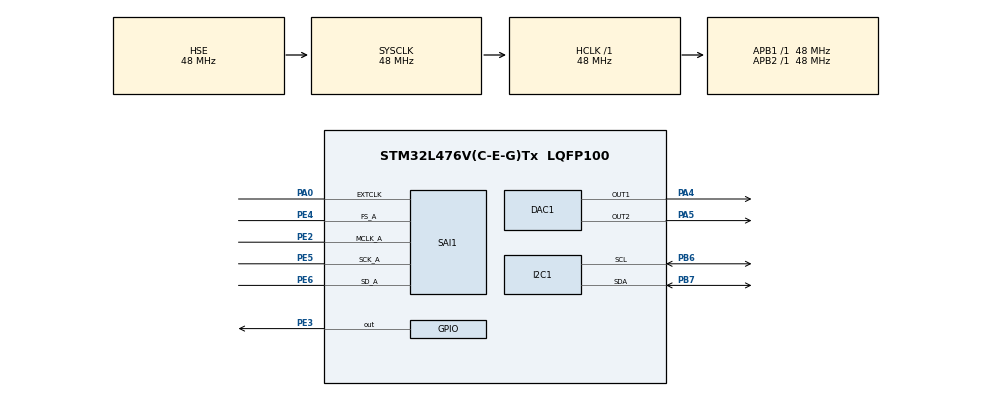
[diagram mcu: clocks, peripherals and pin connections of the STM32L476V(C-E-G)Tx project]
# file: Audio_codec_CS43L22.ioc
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DAC1.DAC_Channel-DAC_OUT2=DAC_CHANNEL_2
DAC1.DAC_Trigger-DAC_OUT1=DAC_TRIGGER_T6_TRGO
DAC1.DAC_Trigger-DAC_OUT2=DAC_TRIGGER_T6_TRGO
DAC1.TriangleAmplitude-DAC_OUT1=DAC_TRIANGLEAMPLITUDE_31
DAC1.WaveGeneration-DAC_OUT1=TriangleWaveGeneration
DAC1.WaveGeneration-DAC_OUT2=NoiseWaveGeneration
I2C1.CustomTiming=Disabled
I2C1.Timing=0x20303E5D
Mcu.Family=STM32L4
Mcu.Name=STM32L476V(C-E-G)Tx
Mcu.Package=LQFP100
NVIC.I2C1_ER_IRQn=true\:0\:0\:false\:false\:true\:true\:true
NVIC.I2C1_EV_IRQn=true\:0\:0\:false\:false\:true\:true\:true
NVIC.PriorityGroup=NVIC_PRIORITYGROUP_4
NVIC.TIM6_DAC_IRQn=true\:0\:0\:false\:false\:true\:true\:true
PA0.Mode=Audio_ClockInSAI1
PA0.Signal=SAI1_EXTCLK
PA4.Signal=COMP_DAC11_group
PA5.Signal=COMP_DAC12_group
PB6.Mode=I2C
PB6.Signal=I2C1_SCL
PB7.Mode=I2C
PB7.Signal=I2C1_SDA
PE2.Mode=SAI_A_MasterWithClock
PE2.Signal=SAI1_MCLK_A
PE3.GPIO_PuPd=GPIO_PULLUP
PE3.PinState=GPIO_PIN_SET
PE3.Signal=GPIO_Output
PE4.Mode=SAI_A_MasterWithClock
PE4.Signal=SAI1_FS_A
PE5.Mode=SAI_A_MasterWithClock
PE5.Signal=SAI1_SCK_A
PE6.Mode=SAI_A_MasterWithClock
PE6.Signal=SAI1_SD_A
PH0-OSC_IN\ (PH0).Mode=HSE-External-Oscillator
PH0-OSC_IN\ (PH0).Signal=RCC_OSC_IN
PH1-OSC_OUT\ (PH1).Mode=HSE-External-Oscillator
PH1-OSC_OUT\ (PH1).Signal=RCC_OSC_OUT
ProjectManager.HeapSize=0x200
ProjectManager.StackSize=0x400
ProjectManager.TargetToolchain=MDK-ARM V5
RCC.ADCFreq_Value=128000000
RCC.AHBFreq_Value=48000000
RCC.APB1Freq_Value=48000000
RCC.APB1TimFreq_Value=48000000
RCC.APB2Freq_Value=48000000
RCC.APB2TimFreq_Value=48000000
RCC.CortexFreq_Value=48000000
RCC.EXTERNALSAI1_CLOCK_VALUE=12288000
RCC.HCLKFreq_Value=48000000
RCC.HSE_VALUE=48000000
RCC.HSI_VALUE=16000000
RCC.I2C1CLockSelection=RCC_I2C1CLKSOURCE_SYSCLK
RCC.LSE_VALUE=32768
RCC.MSI_VALUE=4000000
RCC.PLLM=3
RCC.PLLSAI1N=16
RCC.PLLSourceVirtual=RCC_PLLSOURCE_HSE
RCC.PREFETCH_ENABLE=0
RCC.SYSCLKFreq_VALUE=48000000
RCC.SYSCLKSource=RCC_SYSCLKSOURCE_HSE
RCC.USBFreq_Value=128000000
RCC.VCOOutputFreq_Value=128000000
SAI1.ErrorAudioFreq-SAI_A_MasterWithClock=-25.59 %
SAI1.Instance-SAI_A_MasterWithClock=SAI$Index_Block_A
SAI1.MClockEnable-SAI_A_MasterWithClock=SAI_MASTERCLOCK_ENABLE
SAI1.RealAudioFreq-SAI_A_MasterWithClock=142.857 KHz
SAI1.VirtualMode-SAI_A_MasterWithClock=VM_MASTER
SH.COMP_DAC11_group.0=DAC1_OUT1,DAC_OUT1
SH.COMP_DAC12_group.0=DAC1_OUT2,DAC_OUT2
VP_TIM6_VS_ClockSourceINT.Mode=Enable_Timer
board=STM32L476G-DISCO

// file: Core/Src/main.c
/* USER CODE BEGIN Header */
/**
  ******************************************************************************
  * @file           : main.c
  * @brief          : Main program body
  ******************************************************************************
  * @attention
  *
  * This program sets up codec on STM32L4 - Discovery board in beep mode.
  ******************************************************************************
  */
/* USER CODE END Header */
#include "main.h"

/* USER CODE BEGIN PD */
// Define all codac register addresses
#define CODAC_ADRESS_WRITE 0x94
#define CODAC_ADRESS_READ 0x95
#define TIMEOUT 10
#define POWER_UP_REG 0x02
#define BEEP_REG 0x1E
#define BEEP_FREQ_ONTIME_REG 0x1C
#define BEEP_VOLUME_OFFTIME_REG 0x1D
#define MASTER_VOLUME_REG 0x20
#define HPA_VOLUME_REG 0x22
#define HPB_VOLUME_REG 0x23
#define CLOCK_CONTROL_REG 0x05
#define POWER_CR2_REG 0x04
#define PLAYBACKC_2_REG 0x0F // playback control 2
#define PASSAVOL_REG 0x14 // Passthrough A Volume
#define PASSBVOL_REG 0x15 // Passthrough B Volume
#define MISCELLANEOUS_CONTROLS_REG 0x0E //MISCELLANEOUS CONTROLS register
#define INTERFACE_CONTROL_1_REG 0x06 //inerface control 1 register
#define INTERFACE_CONTROL_2_REG 0x07 //interface control 2 register
#define PCMA_REG 0x1A
#define PCMB_REG 0x1B
#define MSTA_REG 0x20
#define MSTB_REG 0x21
#define SPKA_REG 0x24
#define SPKB_REG 0x25
/* USER CODE END PD */

DAC_HandleTypeDef hdac1;

I2C_HandleTypeDef hi2c1;

SAI_HandleTypeDef hsai_BlockA1;

TIM_HandleTypeDef htim6;

/* USER CODE BEGIN PV */
// Configure all desired messages to the codec by adding
// needed value of the register to the array
uint8_t POWER_UP[] = {(uint8_t)POWER_UP_REG,(uint8_t)0x9E}; //PU sequence
uint8_t CLOCK_AUTO[] = {(uint8_t)CLOCK_CONTROL_REG,(uint8_t)0x80};
uint8_t PBCR_2[] = {(uint8_t)PLAYBACKC_2_REG, (uint8_t)0x08};
uint8_t PSAVOL[] = {(uint8_t)PASSAVOL_REG, (uint8_t)0x0F}; //volume +12dB channel A
uint8_t PSBVOL[] = {(uint8_t)PASSBVOL_REG, (uint8_t)0x0F}; //volume +12dB channel B
// BEEP GENERATOR BUFFERS
uint8_t MASTER_VOLUME[] = {(uint8_t)MASTER_VOLUME_REG,(uint8_t)0x18};//volume 12 db
uint8_t BEEPVOL_OFFTIME[] = {(uint8_t)BEEP_VOLUME_OFFTIME_REG,(uint8_t)0x06};//volume 12 db, off time 1.23s (for 96 kHz)
uint8_t BEEPFREQ_ONTIME[] = {(uint8_t)BEEP_FREQ_ONTIME_REG,(uint8_t)0x77};//beep freq 1000 Hz, on time 2.50s
uint8_t MISCEL_CONTROLS[] = {(uint8_t)MISCELLANEOUS_CONTROLS_REG, (uint8_t)0x60};//passthrough analog A to HP line enabled, B disabled and muted
uint8_t POWER_CR2[] = {(uint8_t)POWER_CR2_REG,(uint8_t)0xAF};//HP line always on, speaker power always off
uint8_t BEEP[] = {(uint8_t)BEEP_REG,(uint8_t)0x81};//multiple beeping, mix with SAI disabled, treble corner freq 5kHz, bass corner freq 50Hz
//----------------------BUFFERS-------------------------
uint8_t TX_BUFFER = 0;
uint8_t RX_BUFFER =  0;
uint8_t POWER_UP_BUFFER =  0x02; //address of power reg
uint8_t MODE_BUFFER =  0x02;
uint8_t CODAC_ID = 0x01;
uint8_t CODAC_MVC = 0x20;
uint8_t CODAC_BEEP = 0x1E; //BEEP address
uint8_t CODAC_BEEPING = 0x03; //continious beeping
uint8_t CODAC_BPVOL = 0x1D; //volume address
uint8_t CODAC_12DB = 0x06;
uint8_t CODAC_PU = 0x02;//power reg adr
uint8_t CODAC_PU_EN = 0x9E;//power reg status
uint8_t CODAC_IC_ADDR = 0x06;
uint8_t INTRFC_CR1 = 0x06;//Interface Control 1 reg address
uint8_t SAI_TRANSFER[] = {0x01, 0x02,0x03, 0x04,0x05, 0x06, 0x07, 0x08,0x09, 0x0A,0x0B, 0x0C, 0x0D, 0x0E, 0x0F, 0x10, 0x11, 0x12,
0x13, 0x14, 0x15, 0x16, 0x17, 0x18, 0x19, 0x1A, 0x1B, 0x1C, 0x1D, 0x1E, 0x1F, 0x20, 0x21, 0x22, 0x23, 0x24, 0x25, 0x26, 0x27, 0x28, 0x29, 0x2A,
0x2B, 0x2C, 0x2D, 0x2E, 0x2F, 0x30, 0x31, 0x32, 0x33, 0x34,0x35, 0x36,0x37, 0x38, 0x39, 0x3A,0x3B, 0x3C, 0x3D, 0x3E, 0x3F, 0x40, 0x41,
0x42, 0x43, 0x44, 0x45, 0x46, 0x47, 0x48, 0x49, 0x4A, 0x4B, 0x4C, 0x4D, 0x4E, 0x4F, 0x50};//Message for SAI to send
/* USER CODE END PV */

void SystemClock_Config(void);
static void MX_GPIO_Init(void);
static void MX_DAC1_Init(void);
static void MX_I2C1_Init(void);
static void MX_SAI1_Init(void);
static void MX_TIM6_Init(void);

/* USER CODE BEGIN 0 */
static void USER_TIM6_init(void)//TIMER 6 init
{
        RCC->APB1ENR1 |= RCC_APB1ENR1_TIM6EN;

        TIM6->PSC = 0x0003;
        TIM6->ARR = 0xFF;

        TIM6->CR2 |= TIM_CR2_MMS_1;
        TIM6->CR1 |= TIM_CR1_CEN;
}

void SAI_PASSTHROUGH_INIT (void)// Function initialises passthrough for PCM (SAI) to the HP
{
	//messages to send
	uint8_t pwr_up[] = {(uint8_t)POWER_UP_REG, (uint8_t)0x01};//power up sequense
	uint8_t pwr_2[] = {(uint8_t)POWER_CR2_REG, (uint8_t)0xAF};//HP always on, speaker muted
	uint8_t clk[] = {(uint8_t)CLOCK_CONTROL_REG, (uint8_t)0x80};//auto detection of clk signal
	uint8_t intfcntrl_1[] = {(uint8_t)INTERFACE_CONTROL_1_REG, (uint8_t)0x10};//slave with enabled DSP
	uint8_t miscel[] = {(uint8_t)MISCELLANEOUS_CONTROLS_REG, (uint8_t)0x30};//passthrough muted
	uint8_t pbck_ctrl_2[] = {(uint8_t)PLAYBACKC_2_REG, (uint8_t)0x38};//speaker muted, headphones not muted
	uint8_t pcma[] = {(uint8_t)PCMA_REG, (uint8_t)0x18};//PCM data from SAI volume +12dB on channel A to DSP
	uint8_t pcmb[] = {(uint8_t)PCMB_REG, (uint8_t)0x18};//PCM data from SAI volume +12dB on channel B to DSP
	uint8_t beep[] = {(uint8_t)BEEP_REG, (uint8_t)0x00};//BEEP generator is off
	uint8_t msta[] = {(uint8_t)MSTA_REG, (uint8_t)0x18};//master volume +12dB on channel A
	uint8_t mstb[] = {(uint8_t)MSTB_REG, (uint8_t)0x18};//master volume +12dB on channel B
	uint8_t hpa[] = {(uint8_t)HPA_VOLUME_REG, (uint8_t)0x00};//hp volume not muted (0dB)
	uint8_t hpb[] = {(uint8_t)HPB_VOLUME_REG, (uint8_t)0x00};//hp volume not muted (0dB)
	uint8_t spka[] = {(uint8_t)SPKA_REG,(uint8_t)0x01};//speaker muted
	uint8_t spkb[] = {(uint8_t)SPKB_REG,(uint8_t)0x01};//speaker muted

	//using HAL functions to set up the codac
	HAL_I2C_Master_Transmit(&hi2c1,CODAC_ADRESS_WRITE, pwr_up, 2, 100);
	HAL_I2C_Master_Transmit(&hi2c1,CODAC_ADRESS_WRITE, pwr_2, 2, 100);
	HAL_I2C_Master_Transmit(&hi2c1,CODAC_ADRESS_WRITE, clk, 2, 100);
	HAL_I2C_Master_Transmit(&hi2c1,CODAC_ADRESS_WRITE, intfcntrl_1, 2, 100);
	HAL_I2C_Master_Transmit(&hi2c1,CODAC_ADRESS_WRITE, miscel, 2, 100);
	HAL_I2C_Master_Transmit(&hi2c1,CODAC_ADRESS_WRITE, pbck_ctrl_2, 2, 100);
	HAL_I2C_Master_Transmit(&hi2c1,CODAC_ADRESS_WRITE, pcma, 2, 100);
	HAL_I2C_Master_Transmit(&hi2c1,CODAC_ADRESS_WRITE, pcmb, 2, 100);
	HAL_I2C_Master_Transmit(&hi2c1,CODAC_ADRESS_WRITE, beep, 2, 100);
	HAL_I2C_Master_Transmit(&hi2c1,CODAC_ADRESS_WRITE, msta, 2, 100);
	HAL_I2C_Master_Transmit(&hi2c1,CODAC_ADRESS_WRITE, mstb, 2, 100);
	HAL_I2C_Master_Transmit(&hi2c1,CODAC_ADRESS_WRITE, hpa, 2, 100);
	HAL_I2C_Master_Transmit(&hi2c1,CODAC_ADRESS_WRITE, hpb, 2, 100);
	HAL_I2C_Master_Transmit(&hi2c1,CODAC_ADRESS_WRITE, spka, 2, 100);
	HAL_I2C_Master_Transmit(&hi2c1,CODAC_ADRESS_WRITE, spkb, 2, 100);

	pwr_up[1] = (uint8_t)0x9E;//sequence for starting (look up datasheet for power up procedure)
	HAL_I2C_Master_Transmit(&hi2c1,CODAC_ADRESS_WRITE, pwr_up, 2, 100);//power up routine

	__HAL_SAI_ENABLE(&hsai_BlockA1);

}
/* USER CODE END 0 */

int main(void)
{

  /* MCU Configuration--------------------------------------------------------*/

  /* Reset of all peripherals, Initializes the Flash interface and the Systick. */
  HAL_Init();

  /* Configure the system clock */
  SystemClock_Config();

  /* Initialize all configured peripherals */
  MX_GPIO_Init();
  MX_DAC1_Init();
  MX_I2C1_Init();
  MX_SAI1_Init();
  MX_TIM6_Init();
  /* USER CODE BEGIN 2 */
	USER_TIM6_init();
	HAL_NVIC_EnableIRQ(TIM6_IRQn);
	HAL_NVIC_EnableIRQ(SAI1_IRQn);

	HAL_GPIO_WritePin(GPIOE, GPIO_PIN_3, GPIO_PIN_SET);//Reset pin on codac is HIGH (see datasheet for details)
	//Codac setup via I2C1 begin
	// Reading from registers to make sure that it works and checking
	// if register Power Ctl 1 is set to 0x01
  HAL_I2C_Master_Transmit(&hi2c1,CODAC_ADRESS_WRITE,&CODAC_ID,1,TIMEOUT);
	HAL_I2C_Master_Receive(&hi2c1,CODAC_ADRESS_READ,&RX_BUFFER,1,TIMEOUT);
	HAL_I2C_Master_Transmit(&hi2c1,CODAC_ADRESS_WRITE,&POWER_UP_BUFFER,1,TIMEOUT);
	HAL_I2C_Master_Receive(&hi2c1,CODAC_ADRESS_READ,&RX_BUFFER,1,TIMEOUT);
	HAL_I2C_Master_Transmit(&hi2c1,CODAC_ADRESS_WRITE,&INTRFC_CR1,1,TIMEOUT);
	HAL_I2C_Master_Receive(&hi2c1,CODAC_ADRESS_READ,&RX_BUFFER,1,TIMEOUT);
	// End
	//To enable the beep generator, comment SAI_PASSTHROUGH_INIT() and uncomment sequence below
	SAI_PASSTHROUGH_INIT();//Custom function to setup SAI transmit
	/*------------------BEEP GENERATOR INIT BEGIN------------------------------------
	HAL_I2C_Master_Transmit(&hi2c1,CODAC_ADRESS_WRITE,CLOCK_AUTO,2,TIMEOUT);
	//  BEEP GENERATOR SETUP FOR A MULTIPLE PULSES
	//---------------------------------------------------------------------------
	HAL_I2C_Master_Transmit(&hi2c1,CODAC_ADRESS_WRITE,POWER_CR2,2,TIMEOUT);
	HAL_I2C_Master_Receive(&hi2c1,CODAC_ADRESS_READ,&RX_BUFFER,1,TIMEOUT);

	HAL_I2C_Master_Transmit(&hi2c1,CODAC_ADRESS_WRITE,MASTER_VOLUME,2,TIMEOUT);
	HAL_I2C_Master_Receive(&hi2c1,CODAC_ADRESS_READ,&RX_BUFFER,1,TIMEOUT);

	HAL_I2C_Master_Transmit(&hi2c1,CODAC_ADRESS_WRITE,BEEPVOL_OFFTIME,2,TIMEOUT);
	HAL_I2C_Master_Receive(&hi2c1,CODAC_ADRESS_READ,&RX_BUFFER,1,TIMEOUT);

	HAL_I2C_Master_Transmit(&hi2c1,CODAC_ADRESS_WRITE,BEEPFREQ_ONTIME,2,TIMEOUT);
	HAL_I2C_Master_Receive(&hi2c1,CODAC_ADRESS_READ,&RX_BUFFER,1,TIMEOUT);

	HAL_I2C_Master_Transmit(&hi2c1,CODAC_ADRESS_WRITE,MISCEL_CONTROLS,2,TIMEOUT);
	HAL_I2C_Master_Receive(&hi2c1,CODAC_ADRESS_READ,&RX_BUFFER,1,TIMEOUT);

	HAL_I2C_Master_Transmit(&hi2c1,CODAC_ADRESS_WRITE,BEEP,2,TIMEOUT);
	HAL_I2C_Master_Receive(&hi2c1,CODAC_ADRESS_READ,&RX_BUFFER,1,TIMEOUT);

	HAL_I2C_Master_Transmit(&hi2c1,CODAC_ADRESS_WRITE,POWER_UP,2,TIMEOUT);
	HAL_I2C_Master_Receive(&hi2c1,CODAC_ADRESS_READ,&RX_BUFFER,1,TIMEOUT);

	__HAL_SAI_ENABLE(&hsai_BlockA1);

	HAL_SAI_Transmit_IT(&hsai_BlockA1, SAI_TRANSFER, 2);//Transfer data to pump up the codac
	------------------BEEP GENERATOR INIT END--------------------------------------*/

  //Codac setup via I2C1 end
	/* USER CODE END 2 */

  /* Infinite loop */
  /* USER CODE BEGIN WHILE */
  while (1)
  {

		//HAL_SAI_Transmit use in to transmit data in blocking mode
		//or use HAL_SAI_Transmit_IT to send data in nonblocking mode

		HAL_SAI_Transmit(&hsai_BlockA1, SAI_TRANSFER, 80, 10);
		HAL_Delay(1.5);//delay for transfer time(?) without it there won't be time for volume amplification
    /* USER CODE END WHILE */

  }
}

void SystemClock_Config(void)
{
  RCC_OscInitTypeDef RCC_OscInitStruct = {0};
  RCC_ClkInitTypeDef RCC_ClkInitStruct = {0};

  /** Configure the main internal regulator output voltage
  */
  if (HAL_PWREx_ControlVoltageScaling(PWR_REGULATOR_VOLTAGE_SCALE1) != HAL_OK)
  {
    Error_Handler();
  }
  /** Initializes the RCC Oscillators according to the specified parameters
  * in the RCC_OscInitTypeDef structure.
  */
  RCC_OscInitStruct.OscillatorType = RCC_OSCILLATORTYPE_HSE;
  RCC_OscInitStruct.HSEState = RCC_HSE_ON;
  RCC_OscInitStruct.PLL.PLLState = RCC_PLL_NONE;
  if (HAL_RCC_OscConfig(&RCC_OscInitStruct) != HAL_OK)
  {
    Error_Handler();
  }
  /** Initializes the CPU, AHB and APB buses clocks
  */
  RCC_ClkInitStruct.ClockType = RCC_CLOCKTYPE_HCLK|RCC_CLOCKTYPE_SYSCLK
                              |RCC_CLOCKTYPE_PCLK1|RCC_CLOCKTYPE_PCLK2;
  RCC_ClkInitStruct.SYSCLKSource = RCC_SYSCLKSOURCE_HSE;
  RCC_ClkInitStruct.AHBCLKDivider = RCC_SYSCLK_DIV1;
  RCC_ClkInitStruct.APB1CLKDivider = RCC_HCLK_DIV1;
  RCC_ClkInitStruct.APB2CLKDivider = RCC_HCLK_DIV1;

  if (HAL_RCC_ClockConfig(&RCC_ClkInitStruct, FLASH_LATENCY_2) != HAL_OK)
  {
    Error_Handler();
  }
}

static void MX_DAC1_Init(void)
{

  DAC_ChannelConfTypeDef sConfig = {0};

  /** DAC Initialization
  */
  hdac1.Instance = DAC1;
  if (HAL_DAC_Init(&hdac1) != HAL_OK)
  {
    Error_Handler();
  }
  /** DAC channel OUT1 config
  */
  sConfig.DAC_SampleAndHold = DAC_SAMPLEANDHOLD_DISABLE;
  sConfig.DAC_Trigger = DAC_TRIGGER_T6_TRGO;
  sConfig.DAC_OutputBuffer = DAC_OUTPUTBUFFER_ENABLE;
  sConfig.DAC_ConnectOnChipPeripheral = DAC_CHIPCONNECT_DISABLE;
  sConfig.DAC_UserTrimming = DAC_TRIMMING_FACTORY;
  if (HAL_DAC_ConfigChannel(&hdac1, &sConfig, DAC_CHANNEL_1) != HAL_OK)
  {
    Error_Handler();
  }
  /** Configure Triangle wave generation on DAC OUT1
  */
  if (HAL_DACEx_TriangleWaveGenerate(&hdac1, DAC_CHANNEL_1, DAC_TRIANGLEAMPLITUDE_31) != HAL_OK)
  {
    Error_Handler();
  }
  /** DAC channel OUT2 config
  */
  if (HAL_DAC_ConfigChannel(&hdac1, &sConfig, DAC_CHANNEL_2) != HAL_OK)
  {
    Error_Handler();
  }
  /** Configure Noise wave generation on DAC OUT2
  */
  if (HAL_DACEx_NoiseWaveGenerate(&hdac1, DAC_CHANNEL_2, DAC_LFSRUNMASK_BIT0) != HAL_OK)
  {
    Error_Handler();
  }
  /* USER CODE BEGIN DAC1_Init 2 */
		RCC->APB1ENR1 |= RCC_APB1ENR1_DAC1EN;

    DAC->CR |= DAC_CR_TEN1; // trigger enable
    DAC->CR |= DAC_CR_MAMP1; // MAx amplitude
    DAC->CR |= DAC_CR_WAVE1_0; // Noise generator activated ch1

		DAC->CR |= DAC_CR_TEN2; // trigger enable
    DAC->CR |= DAC_CR_MAMP2; // MAx amplitude
    DAC->CR |= DAC_CR_WAVE2_1; // Noise generator activated ch2

		DAC->CR |= DAC_CR_EN1; // Enable ch1
    DAC->CR |= DAC_CR_EN2; // Enable ch2

		HAL_DAC_Start(&hdac1,DAC1_CHANNEL_1);
		HAL_DAC_Start(&hdac1,DAC1_CHANNEL_2);
  /* USER CODE END DAC1_Init 2 */

}

static void MX_I2C1_Init(void)
{

  hi2c1.Instance = I2C1;
  hi2c1.Init.Timing = 0x20303E5D;
  hi2c1.Init.OwnAddress1 = 0;
  hi2c1.Init.AddressingMode = I2C_ADDRESSINGMODE_7BIT;
  hi2c1.Init.DualAddressMode = I2C_DUALADDRESS_DISABLE;
  hi2c1.Init.OwnAddress2 = 0;
  hi2c1.Init.OwnAddress2Masks = I2C_OA2_NOMASK;
  hi2c1.Init.GeneralCallMode = I2C_GENERALCALL_DISABLE;
  hi2c1.Init.NoStretchMode = I2C_NOSTRETCH_DISABLE;
  if (HAL_I2C_Init(&hi2c1) != HAL_OK)
  {
    Error_Handler();
  }
  /** Configure Analogue filter
  */
  if (HAL_I2CEx_ConfigAnalogFilter(&hi2c1, I2C_ANALOGFILTER_ENABLE) != HAL_OK)
  {
    Error_Handler();
  }
  /** Configure Digital filter
  */
  if (HAL_I2CEx_ConfigDigitalFilter(&hi2c1, 0) != HAL_OK)
  {
    Error_Handler();
  }

}

static void MX_SAI1_Init(void)
{

  hsai_BlockA1.Instance = SAI1_Block_A;
  hsai_BlockA1.Init.Protocol = SAI_FREE_PROTOCOL;
  hsai_BlockA1.Init.AudioMode = SAI_MODEMASTER_TX;
  hsai_BlockA1.Init.DataSize = SAI_DATASIZE_8;
  hsai_BlockA1.Init.FirstBit = SAI_FIRSTBIT_MSB;
  hsai_BlockA1.Init.ClockStrobing = SAI_CLOCKSTROBING_FALLINGEDGE;
  hsai_BlockA1.Init.Synchro = SAI_ASYNCHRONOUS;
  hsai_BlockA1.Init.OutputDrive = SAI_OUTPUTDRIVE_DISABLE;
  hsai_BlockA1.Init.NoDivider = SAI_MASTERDIVIDER_ENABLE;
  hsai_BlockA1.Init.FIFOThreshold = SAI_FIFOTHRESHOLD_EMPTY;
  hsai_BlockA1.Init.AudioFrequency = SAI_AUDIO_FREQUENCY_96K;
  hsai_BlockA1.Init.SynchroExt = SAI_SYNCEXT_DISABLE;
  hsai_BlockA1.Init.MonoStereoMode = SAI_STEREOMODE;
  hsai_BlockA1.Init.CompandingMode = SAI_NOCOMPANDING;
  hsai_BlockA1.Init.TriState = SAI_OUTPUT_NOTRELEASED;
  hsai_BlockA1.FrameInit.FrameLength = 8;
  hsai_BlockA1.FrameInit.ActiveFrameLength = 1;
  hsai_BlockA1.FrameInit.FSDefinition = SAI_FS_STARTFRAME;
  hsai_BlockA1.FrameInit.FSPolarity = SAI_FS_ACTIVE_LOW;
  hsai_BlockA1.FrameInit.FSOffset = SAI_FS_FIRSTBIT;
  hsai_BlockA1.SlotInit.FirstBitOffset = 0;
  hsai_BlockA1.SlotInit.SlotSize = SAI_SLOTSIZE_DATASIZE;
  hsai_BlockA1.SlotInit.SlotNumber = 1;
  hsai_BlockA1.SlotInit.SlotActive = 0x00000000;
  if (HAL_SAI_Init(&hsai_BlockA1) != HAL_OK)
  {
    Error_Handler();
  }

}

static void MX_TIM6_Init(void)
{

  TIM_MasterConfigTypeDef sMasterConfig = {0};

  htim6.Instance = TIM6;
  htim6.Init.Prescaler = 0;
  htim6.Init.CounterMode = TIM_COUNTERMODE_UP;
  htim6.Init.Period = 65535;
  htim6.Init.AutoReloadPreload = TIM_AUTORELOAD_PRELOAD_DISABLE;
  if (HAL_TIM_Base_Init(&htim6) != HAL_OK)
  {
    Error_Handler();
  }
  sMasterConfig.MasterOutputTrigger = TIM_TRGO_RESET;
  sMasterConfig.MasterSlaveMode = TIM_MASTERSLAVEMODE_DISABLE;
  if (HAL_TIMEx_MasterConfigSynchronization(&htim6, &sMasterConfig) != HAL_OK)
  {
    Error_Handler();
  }

}

static void MX_GPIO_Init(void)
{
  GPIO_InitTypeDef GPIO_InitStruct = {0};

  /* GPIO Ports Clock Enable */
  __HAL_RCC_GPIOE_CLK_ENABLE();
  __HAL_RCC_GPIOH_CLK_ENABLE();
  __HAL_RCC_GPIOA_CLK_ENABLE();
  __HAL_RCC_GPIOB_CLK_ENABLE();

  /*Configure GPIO pin Output Level */
  HAL_GPIO_WritePin(GPIOE, GPIO_PIN_3, GPIO_PIN_SET);

  /*Configure GPIO pin : PE3 */
  GPIO_InitStruct.Pin = GPIO_PIN_3;
  GPIO_InitStruct.Mode = GPIO_MODE_OUTPUT_PP;
  GPIO_InitStruct.Pull = GPIO_PULLUP;
  GPIO_InitStruct.Speed = GPIO_SPEED_FREQ_LOW;
  HAL_GPIO_Init(GPIOE, &GPIO_InitStruct);

  /*Configure GPIO pin : PA0 */
  GPIO_InitStruct.Pin = GPIO_PIN_0;
  GPIO_InitStruct.Mode = GPIO_MODE_AF_PP;
  GPIO_InitStruct.Pull = GPIO_NOPULL;
  GPIO_InitStruct.Speed = GPIO_SPEED_FREQ_LOW;
  GPIO_InitStruct.Alternate = GPIO_AF13_SAI1;
  HAL_GPIO_Init(GPIOA, &GPIO_InitStruct);

}

void Error_Handler(void)
{
  __disable_irq();
  while (1)
  {
  }
}

/************************ (C) COPYRIGHT STMicroelectronics *****END OF FILE****/
